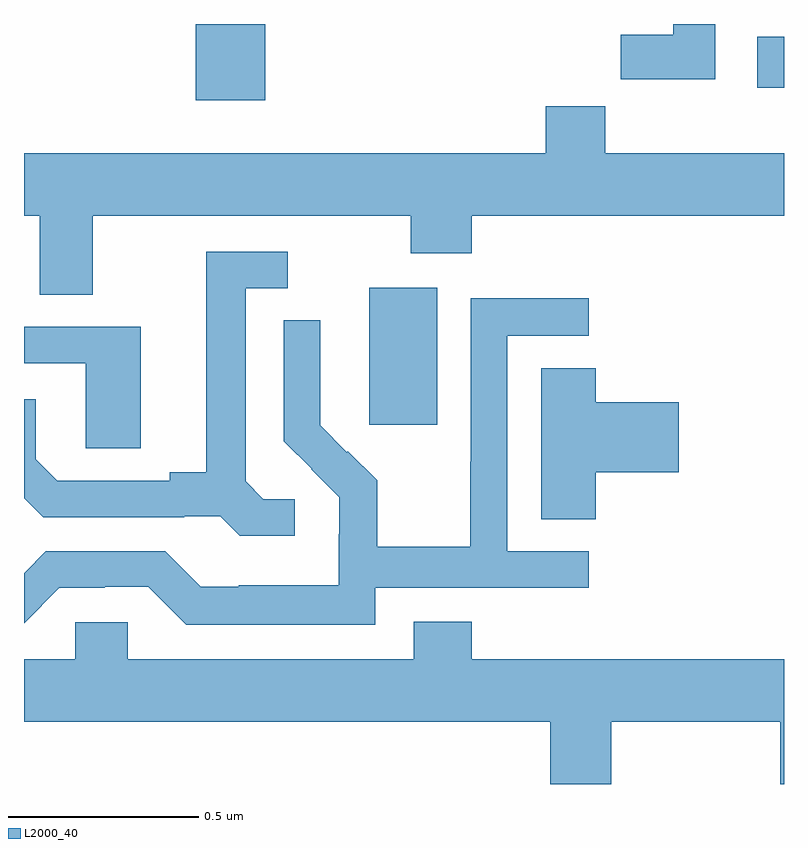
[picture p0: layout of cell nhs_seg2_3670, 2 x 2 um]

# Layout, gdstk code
import gdstk
lib = gdstk.Library(unit=1e-6, precision=1e-09)
def R(c, l, rs):  # rectangles x0, y0, x1, y1
    for r in rs: c.add(gdstk.rectangle(r[:2], r[2:], *l))
def P(c, l, *ps):  # polygons
    for p in ps: c.add(gdstk.Polygon(p, *l))
L2000_40 = (2000, 40)

nhs_seg2_3670 = lib.new_cell('nhs_seg2_3670')
R(nhs_seg2_3670, L2000_40, [(156.908,653.745,157.087,654.106), (156.452,654.6,156.635,654.8), (157.929,654.632,158,654.766)])
P(nhs_seg2_3670, L2000_40, [(157.819,654.8),(157.709,654.8),(157.709,654.772),(157.57,654.772),(157.57,654.654),(157.819,654.654)],
  [(156.181,654.296),(157.018,654.296),(157.018,654.197),(157.178,654.197),(157.178,654.296),(158,654.296),(158,654.46),(157.529,654.46),(157.529,654.584),(157.373,654.584),(157.373,654.46),(156,654.46),(156,654.296),(156.041,654.296),(156.041,654.088),(156.181,654.088)],
  [(156.712,653.55),(156.63,653.55),(156.583,653.597),(156.583,654.105),(156.694,654.105),(156.694,654.201),(156.479,654.201),(156.479,653.621),(156.383,653.621),(156.383,653.598),(156.088,653.598),(156.031,653.655),(156.031,653.812),(156,653.812),(156,653.552),(156.05,653.502),(156.422,653.502),(156.422,653.505),(156.516,653.505),(156.568,653.453),(156.712,653.453)],
  [(156.924,653.316),(157.486,653.316),(157.486,653.412),(157.272,653.412),(157.272,653.979),(157.486,653.979),(157.486,654.078),(157.176,654.078),(157.176,653.648),(157.174,653.648),(157.174,653.425),(156.929,653.425),(156.929,653.599),(156.852,653.676),(156.849,653.673),(156.779,653.744),(156.779,653.866),(156.78,653.866),(156.78,654.02),(156.684,654.02),(156.684,653.702),(156.757,653.629),(156.756,653.628),(156.83,653.554),(156.83,653.457),(156.828,653.457),(156.828,653.323),(156.565,653.323),(156.565,653.319),(156.465,653.319),(156.372,653.412),(156.057,653.412),(156,653.355),(156,653.223),(156.093,653.316),(156.212,653.316),(156.212,653.319),(156.327,653.319),(156.427,653.219),(156.924,653.219)],
  [(156.307,654.003),(156,654.003),(156,653.907),(156.162,653.907),(156.162,653.683),(156.307,653.683)],
  [(157.505,653.621),(157.723,653.621),(157.723,653.804),(157.505,653.804),(157.505,653.894),(157.361,653.894),(157.361,653.497),(157.505,653.497)],
  [(157.545,652.964),(157.99,652.964),(157.99,652.8),(158,652.8),(158,653.128),(157.178,653.128),(157.178,653.227),(157.025,653.227),(157.025,653.128),(156.273,653.128),(156.273,653.226),(156.135,653.226),(156.135,653.128),(156,653.128),(156,652.964),(157.385,652.964),(157.385,652.8),(157.545,652.8)])

lib.write_gds('nhs_seg2_3670.gds')
